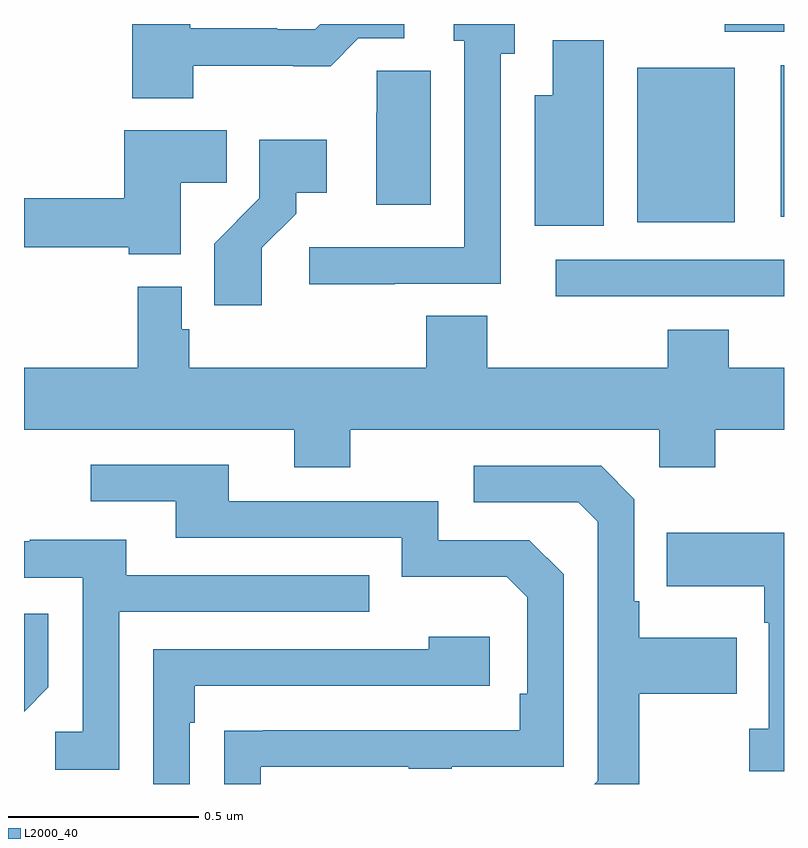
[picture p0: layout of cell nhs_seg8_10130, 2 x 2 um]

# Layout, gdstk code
import gdstk
lib = gdstk.Library(unit=1e-6, precision=1e-09)
def R(c, l, rs):  # rectangles x0, y0, x1, y1
    for r in rs: c.add(gdstk.rectangle(r[:2], r[2:], *l))
def P(c, l, *ps):  # polygons
    for p in ps: c.add(gdstk.Polygon(p, *l))
L2000_40 = (2000, 40)

nhs_seg8_10130 = lib.new_cell('nhs_seg8_10130')
R(nhs_seg8_10130, L2000_40, [(246.399,1118.184,247,1118.28), (246.614,1118.378,246.871,1118.785), (246.992,1118.393,247,1118.791), (246.844,1118.88,247,1118.9)])
P(nhs_seg8_10130, L2000_40, [(245.975,1118.217),(246.255,1118.217),(246.255,1118.822),(246.292,1118.822),(246.292,1118.9),(246.131,1118.9),(246.131,1118.856),(246.159,1118.856),(246.159,1118.313),(245.751,1118.313),(245.751,1118.215),(245.975,1118.215)],
  [(245.445,1118.79),(245.708,1118.79),(245.708,1118.789),(245.807,1118.789),(245.88,1118.862),(246.001,1118.862),(246.001,1118.9),(245.78,1118.9),(245.766,1118.886),(245.666,1118.886),(245.666,1118.889),(245.437,1118.889),(245.437,1118.9),(245.285,1118.9),(245.285,1118.705),(245.445,1118.705)],
  [(246.526,1118.857),(246.392,1118.857),(246.392,1118.713),(246.344,1118.713),(246.344,1118.369),(246.526,1118.369)],
  [(246.07,1118.777),(245.928,1118.777),(245.928,1118.666),(245.927,1118.666),(245.927,1118.424),(246.07,1118.424)],
  [(245.413,1118.482),(245.534,1118.482),(245.534,1118.62),(245.264,1118.62),(245.264,1118.441),(245,1118.441),(245,1118.313),(245.276,1118.313),(245.276,1118.294),(245.413,1118.294)],
  [(245.626,1118.311),(245.716,1118.401),(245.716,1118.456),(245.797,1118.456),(245.797,1118.596),(245.619,1118.596),(245.619,1118.441),(245.5,1118.322),(245.5,1118.16),(245.626,1118.16)],
  [(245.859,1117.832),(246.672,1117.832),(246.672,1117.733),(246.819,1117.733),(246.819,1117.832),(247,1117.832),(247,1117.996),(246.854,1117.996),(246.854,1118.095),(246.694,1118.095),(246.694,1117.996),(246.219,1117.996),(246.219,1118.132),(246.059,1118.132),(246.059,1117.996),(245.435,1117.996),(245.435,1118.097),(245.415,1118.097),(245.415,1118.209),(245.299,1118.209),(245.299,1117.996),(245,1117.996),(245,1117.832),(245.711,1117.832),(245.711,1117.733),(245.859,1117.733)],
  [(245.623,1116.945),(246.013,1116.945),(246.013,1116.94),(246.125,1116.94),(246.125,1116.945),(246.42,1116.945),(246.42,1117.452),(246.33,1117.542),(246.09,1117.542),(246.09,1117.644),(245.539,1117.644),(245.539,1117.74),(245.175,1117.74),(245.175,1117.644),(245.399,1117.644),(245.399,1117.548),(245.994,1117.548),(245.994,1117.445),(246.271,1117.445),(246.324,1117.392),(246.324,1117.138),(246.304,1117.138),(246.304,1117.041),(245.629,1117.041),(245.629,1117.04),(245.527,1117.04),(245.527,1116.9),(245.623,1116.9)],
  [(246.619,1117.138),(246.875,1117.138),(246.875,1117.285),(246.619,1117.285),(246.619,1117.381),(246.606,1117.381),(246.606,1117.65),(246.519,1117.737),(246.183,1117.737),(246.183,1117.641),(246.459,1117.641),(246.51,1117.59),(246.51,1116.909),(246.501,1116.9),(246.619,1116.9)],
  [(247,1117.561),(246.691,1117.561),(246.691,1117.421),(246.948,1117.421),(246.948,1117.325),(246.96,1117.325),(246.96,1117.046),(246.909,1117.046),(246.909,1116.933),(247,1116.933)],
  [(245.25,1117.353),(245.909,1117.353),(245.909,1117.449),(245.269,1117.449),(245.269,1117.543),(245.015,1117.543),(245.015,1117.539),(245,1117.539),(245,1117.443),(245.154,1117.443),(245.154,1117.038),(245.082,1117.038),(245.082,1116.937),(245.25,1116.937)],
  [(245.064,1117.154),(245.064,1117.348),(245,1117.348),(245,1117.09)],
  [(245.436,1117.061),(245.449,1117.061),(245.449,1117.158),(246.226,1117.158),(246.226,1117.288),(246.065,1117.288),(246.065,1117.254),(245.34,1117.254),(245.34,1116.9),(245.436,1116.9)])

lib.write_gds('nhs_seg8_10130.gds')
